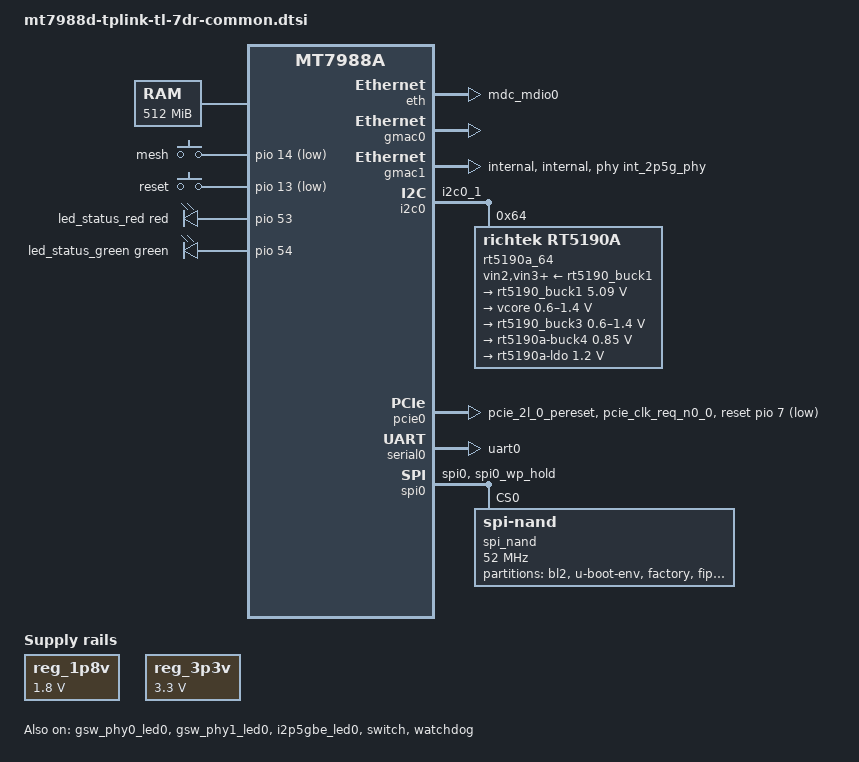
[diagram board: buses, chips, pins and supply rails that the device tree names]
// SPDX-License-Identifier: GPL-2.0-or-later OR MIT
/*
 * Copyright (C) 2025 Tianling Shen <cnsztl@immortalwrt.org>
 */

/dts-v1/;
#include <dt-bindings/input/input.h>
#include <dt-bindings/gpio/gpio.h>
#include <dt-bindings/leds/common.h>
#include <dt-bindings/pinctrl/mt65xx.h>
#include <dt-bindings/regulator/richtek,rt5190a-regulator.h>

#include "mt7988a.dtsi"

/ {
	aliases {
		led-boot = &led_status_red;
		led-failsafe = &led_status_red;
		led-running = &led_status_green;
		led-upgrade = &led_status_green;
		label-mac-device = &gmac0;
		serial0 = &serial0;
	};

	chosen {
		rootdisk = <&ubi_rootdisk>;
		stdout-path = "serial0:115200n8";
	};

	cpus {
		/delete-node/ cpu@3;
	};

	memory@40000000 {
		reg = <0 0x40000000 0 0x20000000>;
		device_type = "memory";
	};

	gpio-keys {
		compatible = "gpio-keys";
		pinctrl-names = "default";
		pinctrl-0 = <&button_pins>;

		button-mesh {
			label = "mesh";
			linux,code = <BTN_9>;
			gpios = <&pio 14 GPIO_ACTIVE_LOW>;
		};

		button-reset {
			label = "reset";
			linux,code = <KEY_RESTART>;
			gpios = <&pio 13 GPIO_ACTIVE_LOW>;
		};
	};

	gpio-leds {
		compatible = "gpio-leds";

		led_status_red: led-0 {
			color = <LED_COLOR_ID_RED>;
			function = LED_FUNCTION_STATUS;
			gpios = <&pio 53 GPIO_ACTIVE_HIGH>;
		};

		led_status_green: led-1 {
			color = <LED_COLOR_ID_GREEN>;
			function = LED_FUNCTION_STATUS;
			gpios = <&pio 54 GPIO_ACTIVE_HIGH>;
		};
	};

	reg_1p8v: regulator-1p8v {
		compatible = "regulator-fixed";
		regulator-name = "fixed-1.8V";
		regulator-min-microvolt = <1800000>;
		regulator-max-microvolt = <1800000>;
		regulator-boot-on;
		regulator-always-on;
	};

	reg_3p3v: regulator-3p3v {
		compatible = "regulator-fixed";
		regulator-name = "fixed-3.3V";
		regulator-min-microvolt = <3300000>;
		regulator-max-microvolt = <3300000>;
		regulator-boot-on;
		regulator-always-on;
	};
};

&cpu0 {
	proc-supply = <&rt5190_buck3>;
};

&cpu1 {
	proc-supply = <&rt5190_buck3>;
};

&cpu2 {
	proc-supply = <&rt5190_buck3>;
};

&cci {
	proc-supply = <&rt5190_buck3>;
};

&eth {
	pinctrl-names = "default";
	pinctrl-0 = <&mdio0_pins>;
	status = "okay";
};

&gmac0 {
	nvmem-cells = <&macaddr_factory_1e001c 0>;
	nvmem-cell-names = "mac-address";
	status = "okay";
};

&gmac1 {
	phy-mode = "internal";
	phy-connection-type = "internal";
	phy = <&int_2p5g_phy>;
	status = "okay";
};

&gsw_phy0 {
	pinctrl-names = "gbe-led";
	pinctrl-0 = <&gbe0_led0_pins>;
};

&gsw_phy0_led0 {
	function = LED_FUNCTION_LAN;
	color = <LED_COLOR_ID_GREEN>;
	status = "okay";
};

&gsw_phy1 {
	pinctrl-names = "gbe-led";
	pinctrl-0 = <&gbe1_led0_pins>;
};

&gsw_phy1_led0 {
	function = LED_FUNCTION_LAN;
	color = <LED_COLOR_ID_GREEN>;
	status = "okay";
};

&i2c0 {
	pinctrl-names = "default";
	pinctrl-0 = <&i2c0_pins>;
	status = "okay";

	rt5190a_64: rt5190a@64 {
		compatible = "richtek,rt5190a";
		reg = <0x64>;
		/*interrupts-extended = <&gpio26 0 IRQ_TYPE_LEVEL_LOW>;*/
		vin2-supply = <&rt5190_buck1>;
		vin3-supply = <&rt5190_buck1>;
		vin4-supply = <&rt5190_buck1>;

		regulators {
			rt5190_buck1: buck1 {
				regulator-name = "rt5190a-buck1";
				regulator-min-microvolt = <5090000>;
				regulator-max-microvolt = <5090000>;
				regulator-allowed-modes = <RT5190A_OPMODE_AUTO RT5190A_OPMODE_FPWM>;
				regulator-boot-on;
				regulator-always-on;
			};

			buck2 {
				regulator-name = "vcore";
				regulator-min-microvolt = <600000>;
				regulator-max-microvolt = <1400000>;
				regulator-boot-on;
				regulator-always-on;
			};

			rt5190_buck3: buck3 {
				regulator-name = "vproc";
				regulator-min-microvolt = <600000>;
				regulator-max-microvolt = <1400000>;
				regulator-boot-on;
			};

			buck4 {
				regulator-name = "rt5190a-buck4";
				regulator-min-microvolt = <850000>;
				regulator-max-microvolt = <850000>;
				regulator-allowed-modes = <RT5190A_OPMODE_AUTO RT5190A_OPMODE_FPWM>;
				regulator-boot-on;
				regulator-always-on;
			};

			ldo {
				regulator-name = "rt5190a-ldo";
				regulator-min-microvolt = <1200000>;
				regulator-max-microvolt = <1200000>;
				regulator-boot-on;
				regulator-always-on;
			};
		};
	};
};

&i2p5gbe_led0 {
	color = <LED_COLOR_ID_GREEN>;
	status = "okay";
};

&int_2p5g_phy {
	pinctrl-names = "i2p5gbe-led";
	pinctrl-0 = <&i2p5gbe_led0_pins>;
};

&pcie0 {
	pinctrl-names = "default";
	pinctrl-0 = <&pcie0_1_pins>;
	reset-gpios = <&pio 7 GPIO_ACTIVE_LOW>;
	status = "okay";

	pcie@0,0 {
		reg = <0x0000 0 0 0 0>;
		#address-cells = <3>;
		#size-cells = <2>;

		mt7992@0,0 {
			reg = <0x0000 0 0 0 0>;
			#address-cells = <1>;
			#size-cells = <0>;
			nvmem-cells = <&eeprom_factory_0>;
			nvmem-cell-names = "eeprom";

			band@0 {
				reg = <0>;
				nvmem-cells = <&macaddr_factory_1e001c 0>;
				nvmem-cell-names = "mac-address";
			};

			/* FIXME: this does not work */
			band@1 {
				reg = <1>;
				nvmem-cells = <&macaddr_factory_1e001c 2>;
				nvmem-cell-names = "mac-address";
			};
		};
	};
};

&pio {
	button_pins: button-pins {
		pins = "GPIO_WPS", "GPIO_RESET";
		mediatek,pull-down-adv = <0>;
	};

	gbe0_led0_pins: gbe0-led0-pins {
		mux {
			function = "led";
			groups = "gbe0_led0";
		};
	};

	gbe1_led0_pins: gbe1-led0-pins {
		mux {
			function = "led";
			groups = "gbe1_led0";
		};
	};

	i2c0_pins: i2c0-g0-pins {
		mux {
			function = "i2c";
			groups = "i2c0_1";
		};
	};

	i2p5gbe_led0_pins: i2p5gbe-led0-pins {
		mux {
			function = "led";
			groups = "2p5gbe_led0";
		};
	};

	mdio0_pins: mdio0-pins {
		mux {
			function = "eth";
			groups = "mdc_mdio0";
		};

		conf {
			groups = "mdc_mdio0";
			drive-strength = <MTK_DRIVE_8mA>;
		};
	};

	pcie0_1_pins: pcie0-pins-g1 {
		mux {
			function = "pcie";
			groups = "pcie_2l_0_pereset", "pcie_clk_req_n0_0";
		};
	};

	spi0_flash_pins: spi0-flash-pins {
		mux {
			function = "spi";
			groups = "spi0", "spi0_wp_hold";
		};
	};

	uart0_pins: uart0-pins {
		mux {
			function = "uart";
			groups =  "uart0";
		};
	};
};

&serial0 {
	pinctrl-names = "default";
	pinctrl-0 = <&uart0_pins>;
	status = "okay";
};

&spi0 {
	pinctrl-names = "default";
	pinctrl-0 = <&spi0_flash_pins>;
	status = "okay";

	spi_nand: flash@0 {
		compatible = "spi-nand";
		reg = <0>;

		spi-max-frequency = <52000000>;
		spi-tx-bus-width = <4>;
		spi-rx-bus-width = <4>;

		partitions {
			compatible = "fixed-partitions";
			#address-cells = <1>;
			#size-cells = <1>;

			partition@0 {
				label = "bl2";
				reg = <0x0 0x100000>;
				read-only;
			};

			partition@100000 {
				label = "u-boot-env";
				reg = <0x100000 0x80000>;
				read-only;
			};

			partition@180000 {
				label = "factory";
				reg = <0x180000 0x400000>;
				read-only;

				nvmem-layout {
					compatible = "fixed-layout";
					#address-cells = <1>;
					#size-cells = <1>;

					eeprom_factory_0: eeprom@0 {
						reg = <0x0 0x1e00>;
					};

					macaddr_factory_1e001c: eeprom@1e001c {
						compatible = "mac-base";
						reg = <0x1e001c 0x6>;
						#nvmem-cell-cells = <1>;
					};
				};
			};

			partition@580000 {
				label = "fip";
				reg = <0x580000 0x200000>;
				read-only;
			};

			partition@780000 {
				compatible = "linux,ubi";
				reg = <0x780000 0x7080000>;
				label = "ubi";

				volumes {
					ubi_rootdisk: ubi-volume-fit {
						volname = "fit";
					};
				};
			};
		};
	};
};

&switch {
	status = "okay";
};

&watchdog {
	status = "okay";
};
